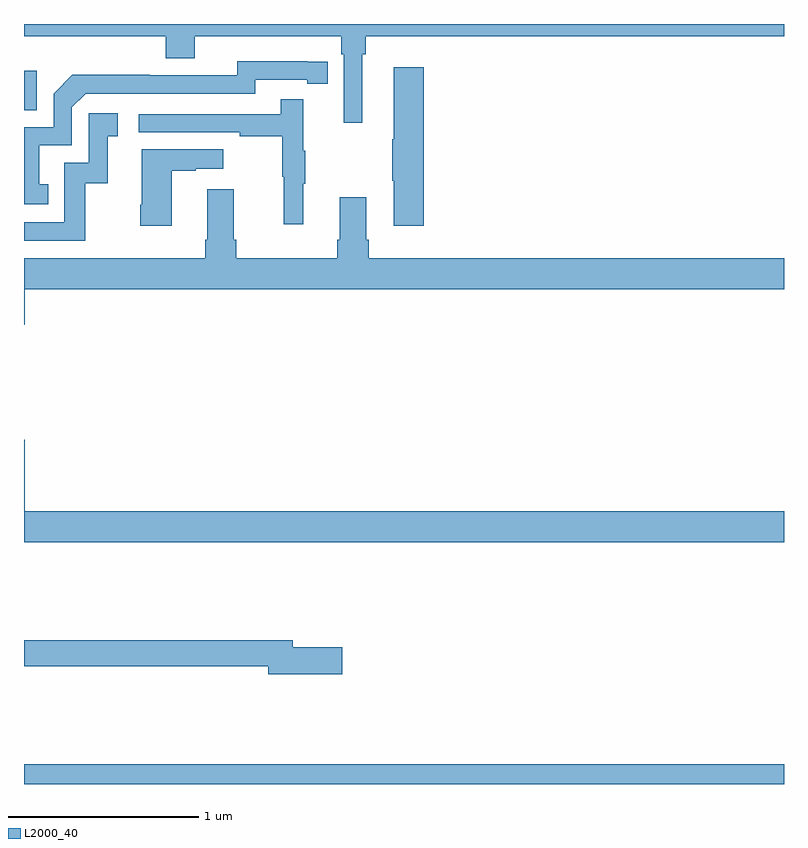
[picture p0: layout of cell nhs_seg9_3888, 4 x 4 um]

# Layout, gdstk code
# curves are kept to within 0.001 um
import gdstk
lib = gdstk.Library(unit=1e-6, precision=1e-09)
def R(c, l, rs):  # rectangles x0, y0, x1, y1
    for r in rs: c.add(gdstk.rectangle(r[:2], r[2:], *l))
def P(c, l, *ps):  # polygons
    for p in ps: c.add(gdstk.Polygon(p, *l))
L2000_40 = (2000, 40)

nhs_seg9_3888 = lib.new_cell('nhs_seg9_3888')
R(nhs_seg9_3888, L2000_40, [(333,1176.5,337,1176.604), (333,1180.047,333.066,1180.255)])
P(nhs_seg9_3888, L2000_40, [(333,1180.436),(333.746,1180.436),(333.746,1180.319),(333.898,1180.319),(333.898,1180.436),(334.67,1180.436),(334.67,1180.34),(334.683,1180.34),(334.683,1179.981),(334.78,1179.981),(334.78,1180.34),(334.799,1180.34),(334.799,1180.436),(337,1180.436),(337,1180.5),(333,1180.5)],
  [(333.128,1179.657),(333.079,1179.657),(333.079,1179.861),(333.252,1179.861),(333.252,1180.062),(333.324,1180.134),(334.218,1180.134),(334.218,1180.206),(334.49,1180.206),(334.49,1180.186),(334.598,1180.186),(334.598,1180.302),(334.122,1180.303),(334.122,1180.23),(333.662,1180.23),(333.662,1180.232),(333.254,1180.232),(333.156,1180.134),(333.156,1179.957),(333,1179.957),(333,1179.552),(333.128,1179.552)],
  [(335.105,1180.273),(334.946,1180.273),(334.946,1179.893),(334.939,1179.893),(334.939,1179.676),(334.946,1179.676),(334.946,1179.438),(335.105,1179.438)],
  [(334.469,1179.659),(334.48,1179.659),(334.48,1179.833),(334.469,1179.833),(334.469,1180.105),(334.351,1180.105),(334.351,1180.026),(333.603,1180.026),(333.603,1179.93),(334.135,1179.93),(334.135,1179.91),(334.359,1179.91),(334.359,1179.696),(334.366,1179.696),(334.366,1179.447),(334.469,1179.447)],
  [(333.322,1179.663),(333.44,1179.663),(333.44,1179.909),(333.493,1179.909),(333.493,1180.03),(333.342,1180.03),(333.342,1179.771),(333.213,1179.771),(333.213,1179.456),(333,1179.456),(333,1179.36),(333.322,1179.36)],
  [(333.778,1179.727),(333.905,1179.727),(333.905,1179.737),(334.048,1179.737),(334.048,1179.841),(333.62,1179.841),(333.62,1179.55),(333.613,1179.55),(333.613,1179.438),(333.778,1179.438)],
  [(333.004,1179.104),(337,1179.104),(337,1179.268),(334.814,1179.268),(334.814,1179.364),(334.801,1179.364),(334.801,1179.589),(334.661,1179.589),(334.661,1179.364),(334.649,1179.364),(334.649,1179.268),(334.118,1179.268),(334.118,1179.364),(334.105,1179.364),(334.105,1179.631),(333.965,1179.631),(333.965,1179.364),(333.953,1179.364),(333.953,1179.268),(333,1179.268),(333,1178.916),(333.004,1178.916)],
  [(337,1177.936),(333.004,1177.936),(333.004,1178.311),(333,1178.311),(333,1177.772),(337,1177.772)],
  [(334.675,1177.22),(334.414,1177.22),(334.414,1177.256),(333,1177.256),(333,1177.12),(334.286,1177.12),(334.286,1177.078),(334.675,1177.078)])

lib.write_gds('nhs_seg9_3888.gds')
